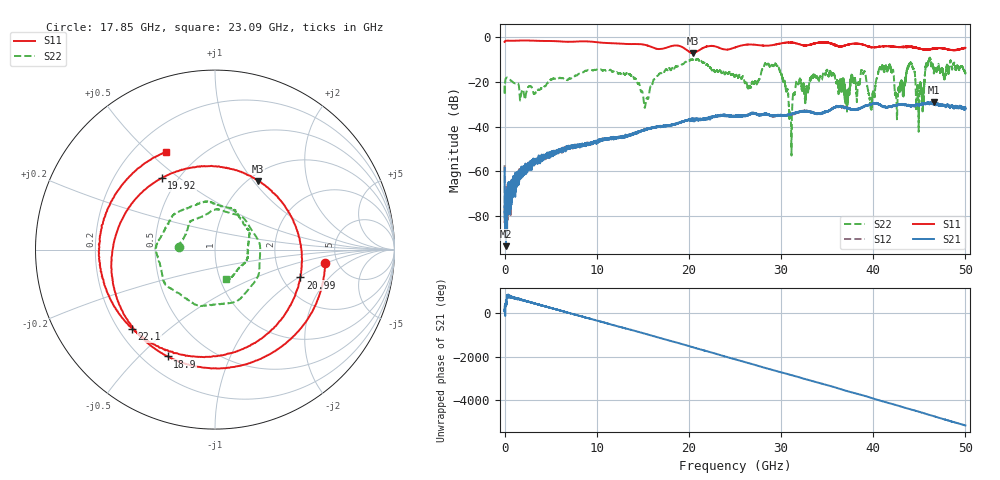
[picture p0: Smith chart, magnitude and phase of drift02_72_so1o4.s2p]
!Created with skrf (http://scikit-rf.org).
# Hz S RI R 50.0
!freq ReS11 ImS11 ReS21 ImS21 ReS12 ImS12 ReS22 ImS22
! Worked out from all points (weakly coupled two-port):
!   10001 points, 300 kHz to 50 GHz, reference 50 ohm
!   highest |S21| = -29.02 dB at 46.62 GHz (marker M1); lowest = -93.7 dB at 150.3 MHz (marker M2)
!   lowest |S11| = -6.9 dB at 20.41 GHz (marker M3), VSWR 2.65, Z = 55.1 + j52.9 ohm
!   |S11| at or under -10 dB: nowhere
!   |S22| runs from -53.0 to -9.0 dB; largest |S21 - S12| = 0.0036
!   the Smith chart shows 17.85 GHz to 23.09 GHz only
!   S11 on the Smith chart (normalised r, x): 17.85 GHz: 3.98, -0.93; 18.9 GHz: 0.29, -0.61; 19.92 GHz: 0.41, +0.43; 20.99 GHz: 2.51, -1.04; 22.1 GHz: 0.25, -0.38; 23.09 GHz: 0.33, +0.57
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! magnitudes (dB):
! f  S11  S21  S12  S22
! 300 kHz  -2.0  -58.5  -57.3  -21.6
! 150.3 MHz  -1.5  -93.7  -71.3  -18.2
! 8.335 GHz  -1.7  -48.7  -48.5  -15.7
! 15.33 GHz  -3.4  -41.4  -41.0  -29.1
! 16.67 GHz  -5.2  -40.0  -40.0  -17.0
! 17.85 GHz  -4.2  -39.5  -39.5  -13.8
! 18.9 GHz  -3.7  -38.4  -38.4  -12.5
! 19.92 GHz  -6.1  -37.1  -37.0  -10.1
! 20.41 GHz  -6.9  -37.0  -36.4  -10.1
! 20.99 GHz  -6.0  -36.6  -36.7  -9.8
! 22.1 GHz  -3.9  -36.6  -36.1  -12.9
! 23.09 GHz  -4.3  -35.3  -35.3  -15.1
! 25 GHz  -4.5  -35.4  -35.6  -17.6
! 29.51 GHz  -3.1  -35.1  -35.1  -12.6
! 31.03 GHz  -2.3  -34.4  -34.5  -34.4
! 33.34 GHz  -3.0  -33.5  -33.6  -18.0
! 38.91 GHz  -3.2  -31.2  -31.2  -16.2
! 39.74 GHz  -4.3  -30.0  -30.0  -30.1
! 41.67 GHz  -4.0  -31.1  -31.2  -12.9
! 42.58 GHz  -4.3  -30.3  -30.2  -36.7
! 46.62 GHz  -4.8  -29.0  -29.5  -14.7
! 50 GHz  -4.7  -31.5  -31.7  -16.0
